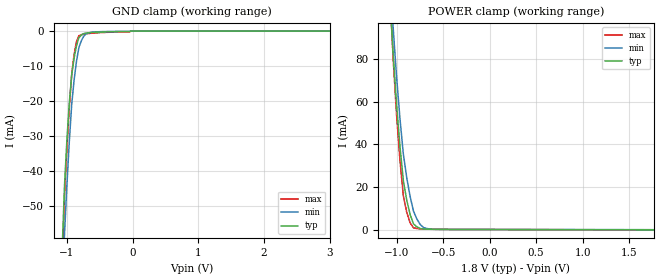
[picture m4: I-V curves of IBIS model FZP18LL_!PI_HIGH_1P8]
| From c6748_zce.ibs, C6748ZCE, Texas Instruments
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|   Model Cell FZP18LL_!PI_HIGH_1P8
|IC1833DVTPBFZP18LL_!PI_HIGH_1P8
[Model]   FZP18LL_!PI_HIGH_1P8
Model_type   Input
Polarity   Non-Inverting
Vinl =  0.63
Vinh =  1.17
C_comp   1.254226p   1.200533p   1.264851p
[Model Spec]
Vinl   0.63   0.567   0.693
Vinh   1.17   1.053   1.287
[Temperature Range]   25   125   -40
[Voltage Range]   1.8   1.62   1.98
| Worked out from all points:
|   GND clamp passes 1 mA (typ) near -0.77 V on its own axis
|   POWER clamp passes 1 mA (typ) near -0.77 V on its own axis
[POWER_clamp]
|   voltage   I(typ)   I(min)   I(max)
-1.8V     812.4mA    848.7mA    874.7mA
-1.073V   110mA      121.8mA    111.3mA
-1.036V   81.9mA     94.32mA    79.73mA
-1V       58.64mA    71.64mA    53.7mA
-963.6mV  38.96mA    51.98mA    32.38mA
-927.3mV  22.86mA    35.33mA    15.77mA
-890.9mV  13.75mA    24.36mA    8.087mA
-854.5mV  7.001mA    15.45mA    3.086mA
-818.2mV  2.61mA     8.596mA    770.5uA
-745.5mV  458.2uA    2.315mA    265.9uA
-636.4mV  113.9uA    201.3uA    155uA
1.764V    -143.5uA   -79.91uA   -225.9uA
[GND_clamp]
|   voltage   I(typ)   I(min)   I(max)
-1.8V     -593.4mA   -494.6mA   -853.4mA
-1.073V   -62.22mA   -74.18mA   -68.37mA
-1.036V   -43.86mA   -57.7mA    -46.78mA
-1V       -30.86mA   -43.69mA   -33.26mA
-963.6mV  -20.39mA   -31.4mA    -21.75mA
-927.3mV  -12.46mA   -20.82mA   -12.26mA
-890.9mV  -7.709mA   -13.96mA   -6.656mA
-854.5mV  -4.183mA   -8.582mA   -3.011mA
-818.2mV  -1.883mA   -4.688mA   -1.321mA
-709.1mV  -555uA     -785.8uA   -767.1uA
-563.6mV  -346.8uA   -231.3uA   -527.6uA
3.6V      0A         0A         0A
